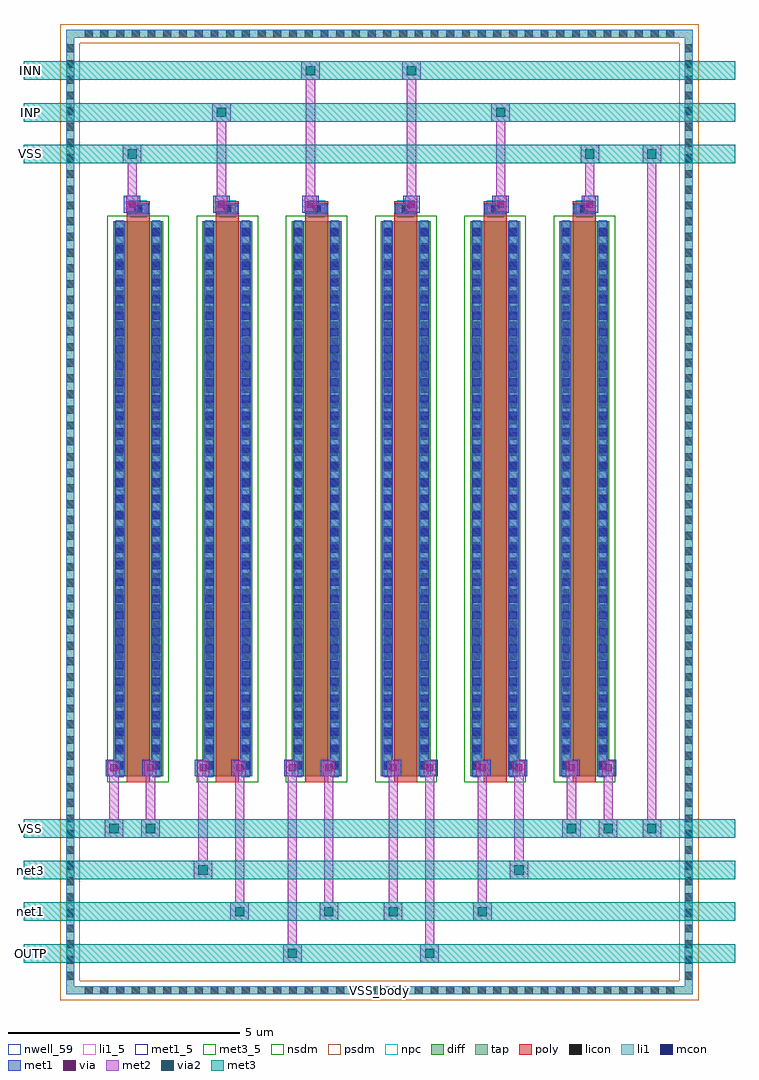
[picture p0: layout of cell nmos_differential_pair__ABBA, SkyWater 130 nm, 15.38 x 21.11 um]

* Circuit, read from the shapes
.subckt nmos_differential_pair__ABBA INN INP OUTP VSS VSS_body net1 net3
XM1 VSS VSS VSS VSS_body sky130_fd_pr__nfet_01v8 w=12 l=0.5 m=2
XM2 net1 INP net3 VSS_body sky130_fd_pr__nfet_01v8 w=12 l=0.5 m=2
XM3 net1 INN OUTP VSS_body sky130_fd_pr__nfet_01v8 w=12 l=0.5 m=2
.ends

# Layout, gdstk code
from math import pi, radians
import gdstk
lib = gdstk.Library(unit=1e-6, precision=1e-09)
def R(c, l, rs):  # rectangles x0, y0, x1, y1
    for r in rs: c.add(gdstk.rectangle(r[:2], r[2:], *l))
def A(c, l, x, y, w, h, nx, ny, dx, dy):  # array of equal rectangles
    R(c, l, [(x+i*dx, y+j*dy, x+i*dx+w, y+j*dy+h) for i in range(nx) for j in range(ny)])
nwell_59 = (64, 59)
diff = (65, 20)
tap = (65, 44)
poly = (66, 20)
licon = (66, 44)
li1_5 = (67, 5)
li1 = (67, 20)
mcon = (67, 44)
met1_5 = (68, 5)
met1 = (68, 20)
via = (68, 44)
met2 = (69, 20)
via2 = (69, 44)
met3_5 = (70, 5)
met3 = (70, 20)
nsdm = (93, 44)
psdm = (94, 20)
npc = (95, 20)

sky130_fd_pr__nfet_01v8_ = lib.new_cell('sky130_fd_pr__nfet_01v8_P7JZK5')
R(sky130_fd_pr__nfet_01v8_, diff, [(-0.54,-6.155,0.54,5.845)])
R(sky130_fd_pr__nfet_01v8_, poly, [(-0.25,-6.285,0.25,6.285)])
A(sky130_fd_pr__nfet_01v8_, licon, -0.48, -6.02, 0.17, 0.17, 1, 35, 0, 0.34)
A(sky130_fd_pr__nfet_01v8_, licon, 0.31, -6.02, 0.17, 0.17, 1, 35, 0, 0.34)
R(sky130_fd_pr__nfet_01v8_, licon, [(-0.085,6.035,0.085,6.205)])
R(sky130_fd_pr__nfet_01v8_, li1, [(-0.48,-6.175,-0.31,5.865), (0.31,-6.175,0.48,5.865), (-0.25,6.035,0.25,6.205)])
A(sky130_fd_pr__nfet_01v8_, mcon, -0.48, -6, 0.17, 0.17, 1, 33, 0, 0.36)
A(sky130_fd_pr__nfet_01v8_, mcon, 0.31, -6, 0.17, 0.17, 1, 33, 0, 0.36)
R(sky130_fd_pr__nfet_01v8_, mcon, [(-0.085,6.035,0.085,6.205)])
R(sky130_fd_pr__nfet_01v8_, met1, [(-0.51,-6.155,-0.28,5.845), (0.28,-6.155,0.51,5.845), (-0.23,6.005,0.23,6.235)])
R(sky130_fd_pr__nfet_01v8_, nsdm, [(-0.665,-6.28,0.665,5.97)])
R(sky130_fd_pr__nfet_01v8_, npc, [(-0.185,5.935,0.185,6.305)])
sky130_fd_pr__nfet_01v8_.add(gdstk.Label('D', (-0.395,-0.155), layer=67, texttype=5))
sky130_fd_pr__nfet_01v8_.add(gdstk.Label('S', (0.395,-0.155), layer=67, texttype=5))
sky130_fd_pr__nfet_01v8_.add(gdstk.Label('G', (0,6.12), layer=67, texttype=5))

nfet_01v8_w12_l0p5_m1__n = lib.new_cell('nfet_01v8_W12_L0p5_m1__nf1_gtop_sdfull_ng')
R(nfet_01v8_w12_l0p5_m1__n, nwell_59, [(0.05,6.08,0.15,6.18)])
R(nfet_01v8_w12_l0p5_m1__n, met1_5, [(0.03,6.13,0.26,6.33), (0.82,6.13,1.05,6.33), (0.31,12.29,0.77,12.52)])
R(nfet_01v8_w12_l0p5_m1__n, met1, [(0.03,6.13,0.26,6.33), (0.82,6.13,1.05,6.33), (0.31,12.29,0.77,12.52)])
nfet_01v8_w12_l0p5_m1__n.add(gdstk.Reference(sky130_fd_pr__nfet_01v8_, (0.54,6.285)))
nfet_01v8_w12_l0p5_m1__n.add(gdstk.Label('D', (0.145,6.23), layer=68, texttype=5))
nfet_01v8_w12_l0p5_m1__n.add(gdstk.Label('S', (0.935,6.23), layer=68, texttype=5))
nfet_01v8_w12_l0p5_m1__n.add(gdstk.Label('G', (0.54,12.405), layer=68, texttype=5))
nfet_01v8_w12_l0p5_m1__n.add(gdstk.Label('B', (0.1,6.13), layer=64, texttype=59))

nmos_differential_pair__ = lib.new_cell('nmos_differential_pair__ABBA')
R(nmos_differential_pair__, tap, [(-0.885,-4.585,12.665,-4.415), (-0.885,-4.415,-0.715,16.105), (12.495,-4.415,12.665,16.105), (-0.885,16.105,12.665,16.275)])
A(nmos_differential_pair__, licon, -0.485, -4.585, 0.17, 0.17, 38, 2, 0.34, 20.69)
A(nmos_differential_pair__, licon, -0.885, -4.27, 0.17, 0.17, 1, 60, 0, 0.34)
A(nmos_differential_pair__, licon, 12.495, -4.27, 0.17, 0.17, 1, 60, 0, 0.34)
R(nmos_differential_pair__, li1_5, [(5.84,-4.55,5.94,-4.45)])
R(nmos_differential_pair__, li1, [(-0.885,-4.585,12.665,-4.415), (-0.885,-4.415,-0.715,16.105), (12.495,-4.415,12.665,16.105), (-0.885,16.105,12.665,16.275)])
A(nmos_differential_pair__, met1, 0.36, 12.32, 0.36, 0.36, 3, 1, 1.93, 0)
A(nmos_differential_pair__, met1, 6.4, 12.32, 0.36, 0.36, 3, 1, 1.93, 0)
R(nmos_differential_pair__, met1, [(-0.035,0.13,0.325,0.49), (0.755,0.13,1.115,0.49), (1.895,0.13,2.255,0.49), (2.685,0.13,3.045,0.49), (3.825,0.13,4.185,0.49), (4.615,0.13,4.975,0.49), (6.005,0.13,6.365,0.49), (6.795,0.13,7.155,0.49), (7.935,0.13,8.295,0.49), (8.725,0.13,9.085,0.49), (9.865,0.13,10.225,0.49), (10.655,0.13,11.015,0.49)])
A(nmos_differential_pair__, via, 0.465, 12.425, 0.15, 0.15, 3, 1, 1.93, 0)
A(nmos_differential_pair__, via, 6.505, 12.425, 0.15, 0.15, 3, 1, 1.93, 0)
R(nmos_differential_pair__, via, [(0.07,0.235,0.22,0.385), (0.86,0.235,1.01,0.385), (2,0.235,2.15,0.385), (2.79,0.235,2.94,0.385), (3.93,0.235,4.08,0.385), (4.72,0.235,4.87,0.385), (6.11,0.235,6.26,0.385), (6.9,0.235,7.05,0.385), (8.04,0.235,8.19,0.385), (8.83,0.235,8.98,0.385), (9.97,0.235,10.12,0.385), (10.76,0.235,10.91,0.385)])
A(nmos_differential_pair__, met2, 0.41, 12.34, 0.26, 0.32, 3, 1, 1.93, 0)
A(nmos_differential_pair__, met2, 6.45, 12.34, 0.26, 0.32, 3, 1, 1.93, 0)
R(nmos_differential_pair__, met2, [(3.805,-3.9,4.205,-3.5), (6.775,-3.9,7.175,-3.5), (3.905,-3.5,4.105,0.15), (6.875,-3.5,7.075,0.15), (2.665,-3,3.065,-2.6), (4.595,-3,4.995,-2.6), (5.985,-3,6.385,-2.6), (7.915,-3,8.315,-2.6), (2.765,-2.6,2.965,0.15), (4.695,-2.6,4.895,0.15), (6.085,-2.6,6.285,0.15), (8.015,-2.6,8.215,0.15), (1.875,-2.1,2.275,-1.7), (8.705,-2.1,9.105,-1.7), (1.975,-1.7,2.175,0.15), (8.805,-1.7,9.005,0.15), (-0.055,-1.2,0.345,-0.8), (0.735,-1.2,1.135,-0.8), (9.845,-1.2,10.245,-0.8), (10.635,-1.2,11.035,-0.8), (11.58,-1.2,11.98,-0.8), (0.045,-0.8,0.245,0.15), (0.835,-0.8,1.035,0.15), (9.945,-0.8,10.145,0.15), (10.735,-0.8,10.935,0.15), (11.68,-0.8,11.88,13.39), (0.015,0.15,0.275,0.47), (0.805,0.15,1.065,0.47), (1.945,0.15,2.205,0.47), (2.735,0.15,2.995,0.47), (3.875,0.15,4.135,0.47), (4.665,0.15,4.925,0.47), (6.055,0.15,6.315,0.47), (6.845,0.15,7.105,0.47), (7.985,0.15,8.245,0.47), (8.775,0.15,9.035,0.47), (9.915,0.15,10.175,0.47), (10.705,0.15,10.965,0.47), (0.44,12.66,0.64,13.39), (2.37,12.66,2.57,14.29), (4.3,12.66,4.5,15.19), (6.48,12.66,6.68,15.19), (8.41,12.66,8.61,14.29), (10.34,12.66,10.54,13.39), (0.34,13.39,0.74,13.79), (10.24,13.39,10.64,13.79), (11.58,13.39,11.98,13.79), (2.27,14.29,2.67,14.69), (8.31,14.29,8.71,14.69), (4.2,15.19,4.6,15.59), (6.38,15.19,6.78,15.59)])
R(nmos_differential_pair__, via2, [(3.905,-3.8,4.105,-3.6), (6.875,-3.8,7.075,-3.6), (2.765,-2.9,2.965,-2.7), (4.695,-2.9,4.895,-2.7), (6.085,-2.9,6.285,-2.7), (8.015,-2.9,8.215,-2.7), (1.975,-2,2.175,-1.8), (8.805,-2,9.005,-1.8), (0.045,-1.1,0.245,-0.9), (0.835,-1.1,1.035,-0.9), (9.945,-1.1,10.145,-0.9), (10.735,-1.1,10.935,-0.9), (11.68,-1.1,11.88,-0.9), (0.44,13.49,0.64,13.69), (10.34,13.49,10.54,13.69), (11.68,13.49,11.88,13.69), (2.37,14.39,2.57,14.59), (8.41,14.39,8.61,14.59), (4.3,15.29,4.5,15.49), (6.48,15.29,6.68,15.49)])
A(nmos_differential_pair__, met3_5, -1.7, -3.75, 0.1, 0.1, 1, 4, 0, 0.9)
A(nmos_differential_pair__, met3_5, -1.7, 13.54, 0.1, 0.1, 1, 3, 0, 0.9)
A(nmos_differential_pair__, met3, -1.8, -3.9, 15.38, 0.4, 1, 4, 0, 0.9)
A(nmos_differential_pair__, met3, -1.8, 13.39, 15.38, 0.4, 1, 3, 0, 0.9)
R(nmos_differential_pair__, psdm, [(-1.01,-4.71,12.79,-4.29), (-1.01,-4.29,-0.59,15.98), (12.37,-4.29,12.79,15.98), (-1.01,15.98,12.79,16.4)])
nmos_differential_pair__.add(gdstk.Reference(nfet_01v8_w12_l0p5_m1__n, (10.86,0), rotation=pi, x_reflection=True))
nmos_differential_pair__.add(gdstk.Reference(nfet_01v8_w12_l0p5_m1__n, (8.93,0), rotation=pi, x_reflection=True))
nmos_differential_pair__.add(gdstk.Reference(nfet_01v8_w12_l0p5_m1__n, (7,0), rotation=pi, x_reflection=True))
nmos_differential_pair__.add(gdstk.Reference(nfet_01v8_w12_l0p5_m1__n, (3.99,0)))
nmos_differential_pair__.add(gdstk.Reference(nfet_01v8_w12_l0p5_m1__n, (2.06,0)))
nmos_differential_pair__.add(gdstk.Reference(nfet_01v8_w12_l0p5_m1__n, (0.13,0)))
nmos_differential_pair__.add(gdstk.Label('VSS', (-1.65,13.59), layer=70, texttype=5))
nmos_differential_pair__.add(gdstk.Label('INP', (-1.65,14.49), layer=70, texttype=5))
nmos_differential_pair__.add(gdstk.Label('INN', (-1.65,15.39), layer=70, texttype=5))
nmos_differential_pair__.add(gdstk.Label('VSS', (-1.65,-1), layer=70, texttype=5))
nmos_differential_pair__.add(gdstk.Label('net3', (-1.65,-1.9), layer=70, texttype=5))
nmos_differential_pair__.add(gdstk.Label('net1', (-1.65,-2.8), layer=70, texttype=5))
nmos_differential_pair__.add(gdstk.Label('OUTP', (-1.65,-3.7), layer=70, texttype=5))
nmos_differential_pair__.add(gdstk.Label('VSS_body', (5.89,-4.5), layer=67, texttype=5))

lib.write_gds('nmos_differential_pair__ABBA.gds')
